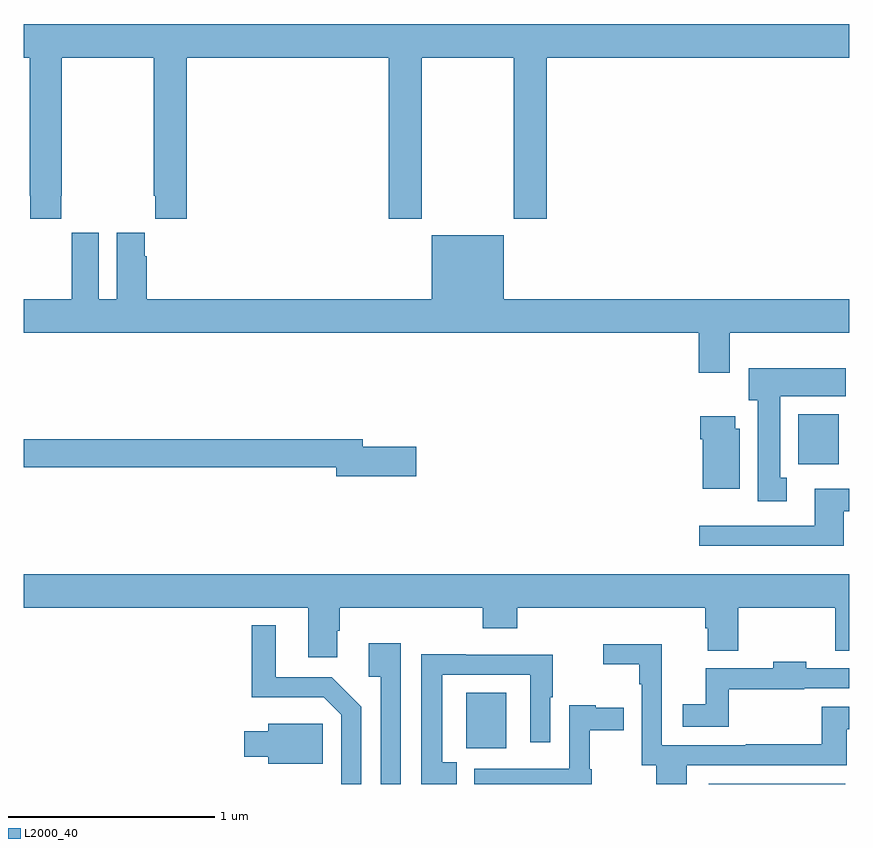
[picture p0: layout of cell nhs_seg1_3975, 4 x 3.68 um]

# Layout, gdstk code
import gdstk
lib = gdstk.Library(unit=1e-6, precision=1e-09)
def R(c, l, rs):  # rectangles x0, y0, x1, y1
    for r in rs: c.add(gdstk.rectangle(r[:2], r[2:], *l))
def P(c, l, *ps):  # polygons
    for p in ps: c.add(gdstk.Polygon(p, *l))
L2000_40 = (2000, 40)

nhs_seg1_3975 = lib.new_cell('nhs_seg1_3975')
R(nhs_seg1_3975, L2000_40, [(330.318,564.199,330.979,564.201), (329.144,564.372,329.338,564.64), (330.752,565.748,330.949,565.99)])
P(nhs_seg1_3975, L2000_40, [(327.183,567.049),(327.186,567.049),(327.186,567.716),(327.631,567.716),(327.631,567.049),(327.637,567.049),(327.637,566.937),(327.791,566.937),(327.791,567.716),(328.769,567.716),(328.769,566.937),(328.929,566.937),(328.929,567.716),(329.374,567.716),(329.374,566.937),(329.534,566.937),(329.534,567.716),(331,567.716),(331,567.88),(327,567.88),(327,567.716),(327.031,567.716),(327.031,567.049),(327.033,567.049),(327.033,566.937),(327.183,566.937)],
  [(330.269,566.19),(330.421,566.19),(330.421,566.384),(331,566.384),(331,566.548),(329.326,566.548),(329.326,566.857),(328.976,566.857),(328.976,566.548),(327.596,566.548),(327.596,566.756),(327.586,566.756),(327.586,566.869),(327.452,566.869),(327.452,566.548),(327.364,566.548),(327.364,566.869),(327.234,566.869),(327.234,566.756),(327.233,566.756),(327.233,566.548),(327,566.548),(327,566.384),(330.269,566.384)],
  [(330.697,565.682),(330.664,565.682),(330.664,566.078),(330.982,566.078),(330.982,566.212),(330.512,566.212),(330.512,566.058),(330.557,566.058),(330.557,565.569),(330.697,565.569)],
  [(330.469,565.92),(330.448,565.92),(330.448,565.981),(330.278,565.981),(330.278,565.868),(330.29,565.868),(330.29,565.628),(330.469,565.628)],
  [(328.903,565.832),(328.642,565.832),(328.642,565.868),(327,565.868),(327,565.732),(328.514,565.732),(328.514,565.69),(328.903,565.69)],
  [(330.973,565.521),(331,565.521),(331,565.63),(330.833,565.63),(330.833,565.449),(330.273,565.449),(330.273,565.352),(330.973,565.352)],
  [(327,565.052),(328.379,565.052),(328.379,564.813),(328.519,564.813),(328.519,564.941),(328.532,564.941),(328.532,565.052),(329.225,565.052),(329.225,564.953),(329.39,564.953),(329.39,565.052),(330.302,565.052),(330.302,564.954),(330.314,564.954),(330.314,564.844),(330.462,564.844),(330.462,565.052),(330.931,565.052),(330.931,564.844),(331,564.844),(331,565.216),(327,565.216)],
  [(328.635,564.574),(328.492,564.717),(328.222,564.717),(328.222,564.967),(328.105,564.967),(328.105,564.62),(328.453,564.62),(328.539,564.534),(328.539,564.199),(328.635,564.199)],
  [(328.827,564.88),(328.671,564.88),(328.671,564.719),(328.731,564.719),(328.731,564.199),(328.827,564.199)],
  [(330.211,564.291),(330.988,564.291),(330.988,564.465),(331,564.465),(331,564.573),(330.867,564.573),(330.867,564.392),(330.499,564.392),(330.499,564.387),(330.092,564.387),(330.092,564.877),(329.808,564.877),(329.808,564.779),(329.982,564.779),(329.982,564.683),(329.994,564.683),(329.994,564.289),(330.064,564.289),(330.064,564.199),(330.211,564.199)],
  [(329.099,564.305),(329.029,564.305),(329.029,564.729),(329.454,564.729),(329.454,564.402),(329.55,564.402),(329.55,564.618),(329.563,564.618),(329.563,564.825),(329.141,564.825),(329.141,564.828),(328.925,564.828),(328.925,564.199),(329.099,564.199)],
  [(330.415,564.658),(330.78,564.658),(330.78,564.663),(331,564.663),(331,564.759),(330.792,564.759),(330.792,564.79),(330.632,564.79),(330.632,564.759),(330.305,564.759),(330.305,564.586),(330.192,564.586),(330.192,564.476),(330.415,564.476)],
  [(329.752,564.27),(329.742,564.27),(329.742,564.459),(329.908,564.459),(329.908,564.569),(329.771,564.569),(329.771,564.58),(329.643,564.58),(329.643,564.273),(329.184,564.273),(329.184,564.199),(329.752,564.199)],
  [(328.449,564.49),(328.184,564.49),(328.184,564.454),(328.07,564.454),(328.07,564.332),(328.184,564.332),(328.184,564.296),(328.449,564.296)])

lib.write_gds('nhs_seg1_3975.gds')
